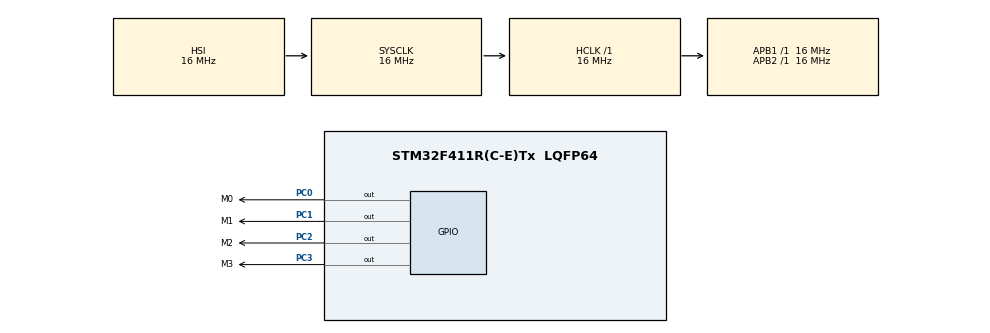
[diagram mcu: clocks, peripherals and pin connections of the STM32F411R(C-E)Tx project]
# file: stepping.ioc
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Mcu.Family=STM32F4
Mcu.Name=STM32F411R(C-E)Tx
Mcu.Package=LQFP64
NVIC.PriorityGroup=NVIC_PRIORITYGROUP_4
PC0.GPIO_Label=M0
PC0.Signal=GPIO_Output
PC1.GPIO_Label=M1
PC1.Signal=GPIO_Output
PC2.GPIO_Label=M2
PC2.Signal=GPIO_Output
PC3.GPIO_Label=M3
PC3.Signal=GPIO_Output
ProjectManager.HeapSize=0x200
ProjectManager.StackSize=0x400
ProjectManager.TargetToolchain=STM32CubeIDE
RCC.AHBFreq_Value=16000000
RCC.APB1Freq_Value=16000000
RCC.APB2Freq_Value=16000000
RCC.CortexFreq_Value=16000000
RCC.HSE_VALUE=25000000
RCC.HSI_VALUE=16000000
RCC.LSE_VALUE=32768
RCC.SYSCLKFreq_VALUE=16000000
RCC.VCOOutputFreq_Value=192000000
TIM2.Prescaler=15
VP_TIM2_VS_ClockSourceINT.Mode=Internal
board=custom

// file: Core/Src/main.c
/* USER CODE BEGIN Header */
/**
  ******************************************************************************
  * @file           : main.c
  * @brief          : Main program body
  ******************************************************************************
  * @attention
  *
  * Copyright (c) 2023 STMicroelectronics.
  * All rights reserved.
  *
  * This software is licensed under terms that can be found in the LICENSE file
  * in the root directory of this software component.
  * If no LICENSE file comes with this software, it is provided AS-IS.
  *
  ******************************************************************************
  */
/* USER CODE END Header */
#include "main.h"

TIM_HandleTypeDef htim2;

void SystemClock_Config(void);
static void MX_GPIO_Init(void);
static void MX_TIM2_Init(void);

/* USER CODE BEGIN 0 */
void setMotor(int dir, int angle) {
	uint8_t stepLut[] =
	{ 0b1000, 0b1010, 0b0010, 0b0110, 0b0100, 0b0101, 0b0001, 0b1001 };
	static int curStep = 0;
	if(dir) {
		curStep++;
		curStep %= 8;
	}
	else {
		curStep--;
		if(curStep < 0) curStep = 7;
	}
	GPIOC->ODR = (GPIOC->IDR & 0xfff0) | stepLut[curStep];
	//GPIOC->ODR = stepLut[curStep];
	/*HAL_GPIO_WritePin(M0_GPIO_Port, M0_Pin, (stepLut[curStep] & (1 << 0)) > 0 ? 1 : 0);
	HAL_GPIO_WritePin(M1_GPIO_Port, M1_Pin, (stepLut[curStep] & (1 << 1)) > 0 ? 1 : 0);
	HAL_GPIO_WritePin(M2_GPIO_Port, M2_Pin, (stepLut[curStep] & (1 << 2)) > 0 ? 1 : 0);
	HAL_GPIO_WritePin(M3_GPIO_Port, M3_Pin, (stepLut[curStep] & (1 << 3)) > 0 ? 1 : 0);*/
}

void delayUs(uint32_t us) {
	__HAL_TIM_SET_COUNTER(&htim2, 0);
	while((__HAL_TIM_GET_COUNTER(&htim2))<us);
}
/* USER CODE END 0 */

int main(void)
{

  /* MCU Configuration--------------------------------------------------------*/

  /* Reset of all peripherals, Initializes the Flash interface and the Systick. */
  HAL_Init();

  /* Configure the system clock */
  SystemClock_Config();

  /* Initialize all configured peripherals */
  MX_GPIO_Init();
  MX_TIM2_Init();
  /* USER CODE BEGIN 2 */
  HAL_TIM_Base_Start(&htim2);
  /* USER CODE END 2 */

  /* Infinite loop */
  while (1)
  {

    /* USER CODE BEGIN 3 */
  	for(int i = 0; i < 1000; i++) {
  		setMotor(1, 0);
  		HAL_Delay(1);
  	}
  	for(int i = 0; i < 1000; i++) {
  		setMotor(0, 0);
  		HAL_Delay(1);
  	}
  }
  /* USER CODE END 3 */
}

void SystemClock_Config(void)
{
  RCC_OscInitTypeDef RCC_OscInitStruct = {0};
  RCC_ClkInitTypeDef RCC_ClkInitStruct = {0};

  /** Configure the main internal regulator output voltage
  */
  __HAL_RCC_PWR_CLK_ENABLE();
  __HAL_PWR_VOLTAGESCALING_CONFIG(PWR_REGULATOR_VOLTAGE_SCALE1);

  /** Initializes the RCC Oscillators according to the specified parameters
  * in the RCC_OscInitTypeDef structure.
  */
  RCC_OscInitStruct.OscillatorType = RCC_OSCILLATORTYPE_HSI;
  RCC_OscInitStruct.HSIState = RCC_HSI_ON;
  RCC_OscInitStruct.HSICalibrationValue = RCC_HSICALIBRATION_DEFAULT;
  RCC_OscInitStruct.PLL.PLLState = RCC_PLL_NONE;
  if (HAL_RCC_OscConfig(&RCC_OscInitStruct) != HAL_OK)
  {
    Error_Handler();
  }

  /** Initializes the CPU, AHB and APB buses clocks
  */
  RCC_ClkInitStruct.ClockType = RCC_CLOCKTYPE_HCLK|RCC_CLOCKTYPE_SYSCLK
                              |RCC_CLOCKTYPE_PCLK1|RCC_CLOCKTYPE_PCLK2;
  RCC_ClkInitStruct.SYSCLKSource = RCC_SYSCLKSOURCE_HSI;
  RCC_ClkInitStruct.AHBCLKDivider = RCC_SYSCLK_DIV1;
  RCC_ClkInitStruct.APB1CLKDivider = RCC_HCLK_DIV1;
  RCC_ClkInitStruct.APB2CLKDivider = RCC_HCLK_DIV1;

  if (HAL_RCC_ClockConfig(&RCC_ClkInitStruct, FLASH_LATENCY_0) != HAL_OK)
  {
    Error_Handler();
  }
}

static void MX_TIM2_Init(void)
{

  TIM_ClockConfigTypeDef sClockSourceConfig = {0};
  TIM_MasterConfigTypeDef sMasterConfig = {0};

  htim2.Instance = TIM2;
  htim2.Init.Prescaler = 15;
  htim2.Init.CounterMode = TIM_COUNTERMODE_UP;
  htim2.Init.Period = 4294967295;
  htim2.Init.ClockDivision = TIM_CLOCKDIVISION_DIV1;
  htim2.Init.AutoReloadPreload = TIM_AUTORELOAD_PRELOAD_DISABLE;
  if (HAL_TIM_Base_Init(&htim2) != HAL_OK)
  {
    Error_Handler();
  }
  sClockSourceConfig.ClockSource = TIM_CLOCKSOURCE_INTERNAL;
  if (HAL_TIM_ConfigClockSource(&htim2, &sClockSourceConfig) != HAL_OK)
  {
    Error_Handler();
  }
  sMasterConfig.MasterOutputTrigger = TIM_TRGO_RESET;
  sMasterConfig.MasterSlaveMode = TIM_MASTERSLAVEMODE_DISABLE;
  if (HAL_TIMEx_MasterConfigSynchronization(&htim2, &sMasterConfig) != HAL_OK)
  {
    Error_Handler();
  }

}

static void MX_GPIO_Init(void)
{
  GPIO_InitTypeDef GPIO_InitStruct = {0};

  /* GPIO Ports Clock Enable */
  __HAL_RCC_GPIOC_CLK_ENABLE();

  /*Configure GPIO pin Output Level */
  HAL_GPIO_WritePin(GPIOC, M0_Pin|M1_Pin|M2_Pin|M3_Pin, GPIO_PIN_RESET);

  /*Configure GPIO pins : M0_Pin M1_Pin M2_Pin M3_Pin */
  GPIO_InitStruct.Pin = M0_Pin|M1_Pin|M2_Pin|M3_Pin;
  GPIO_InitStruct.Mode = GPIO_MODE_OUTPUT_PP;
  GPIO_InitStruct.Pull = GPIO_NOPULL;
  GPIO_InitStruct.Speed = GPIO_SPEED_FREQ_LOW;
  HAL_GPIO_Init(GPIOC, &GPIO_InitStruct);

}

void Error_Handler(void)
{
  __disable_irq();
  while (1)
  {
  }
}
